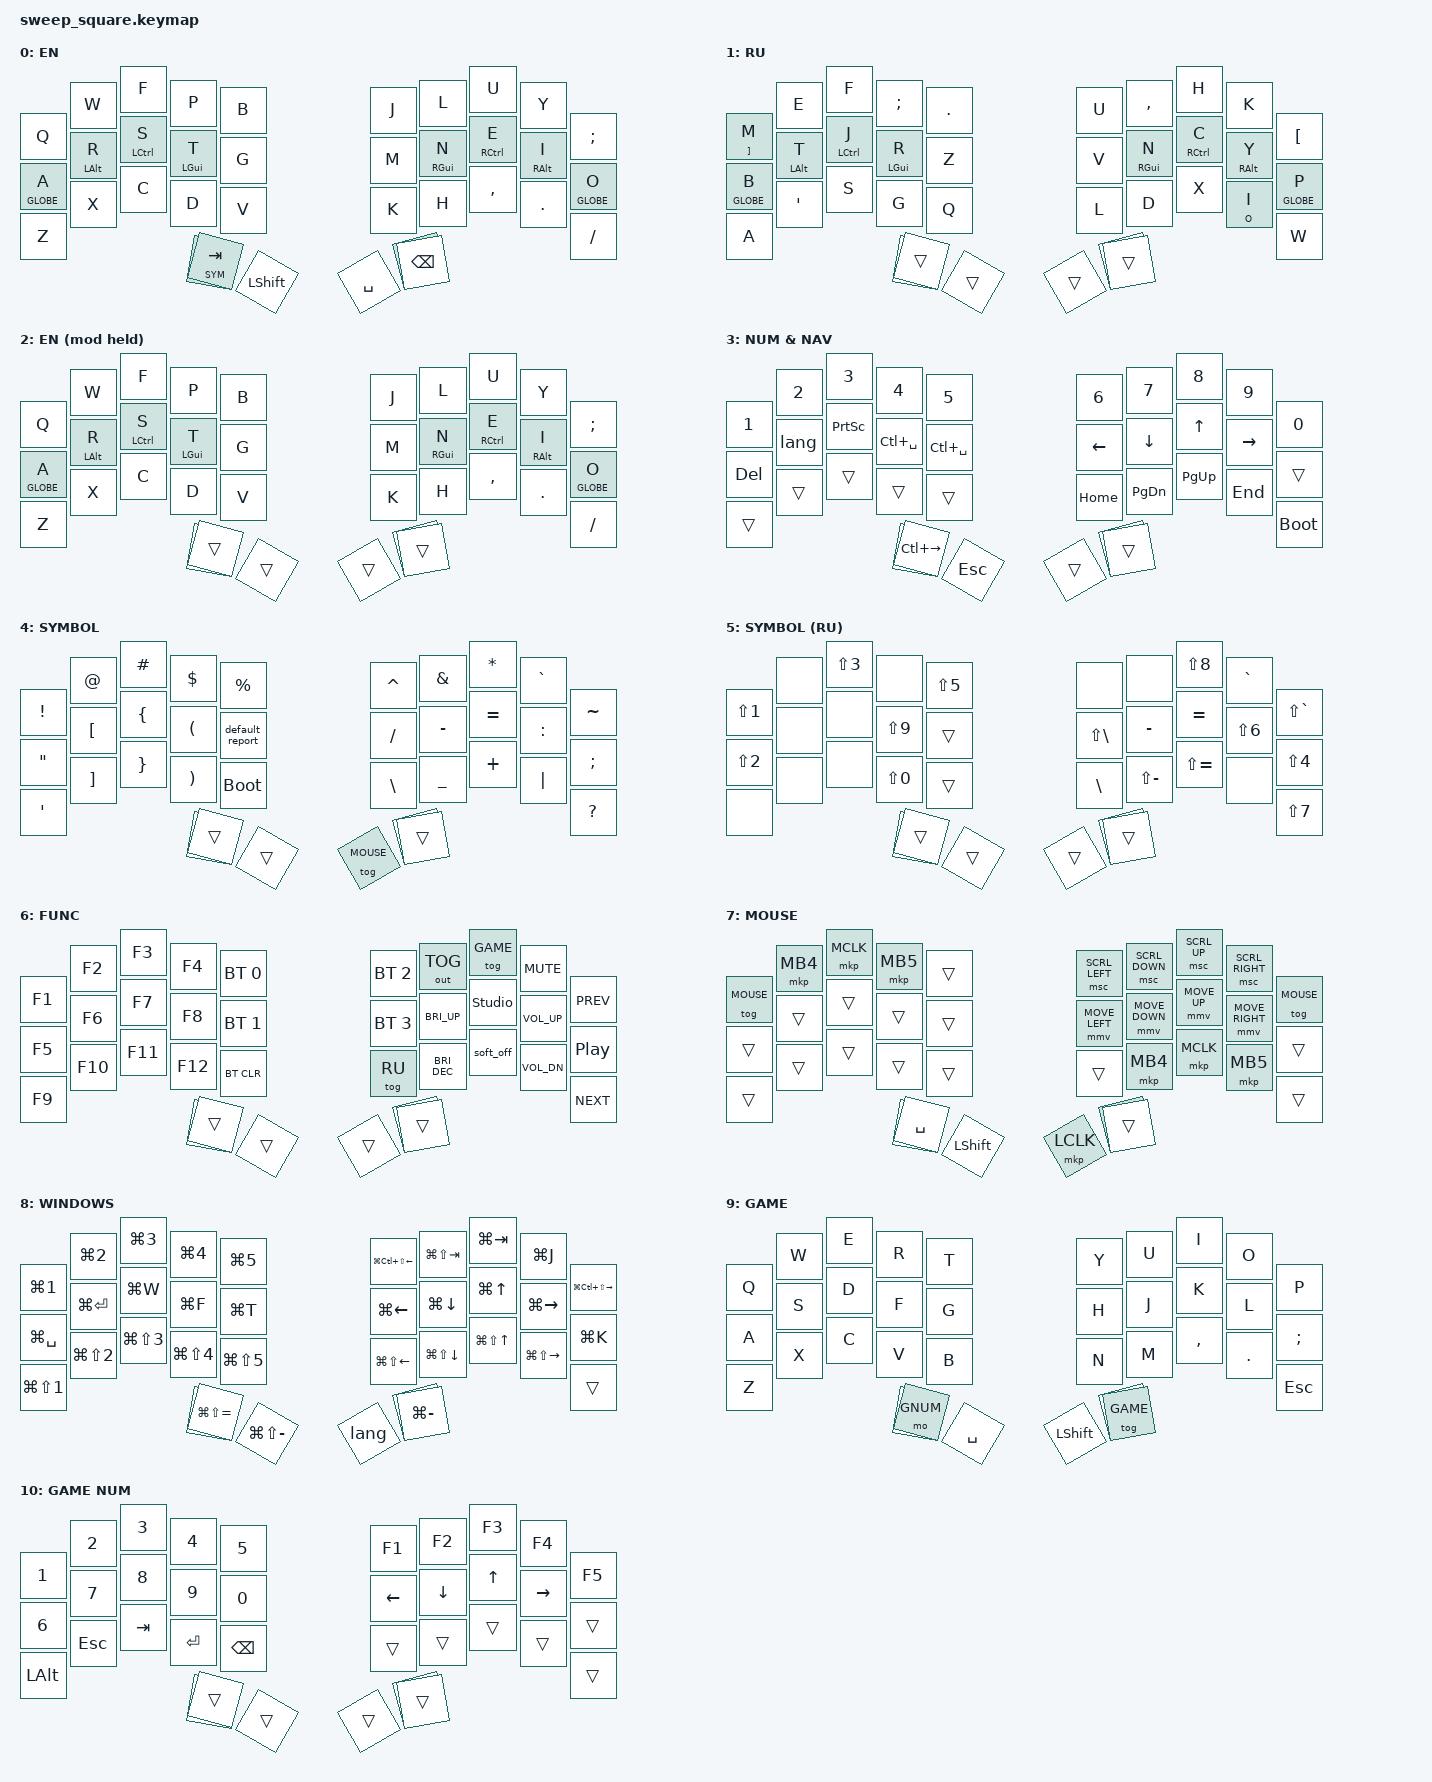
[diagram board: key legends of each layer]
// Copyright (c) 2022 The ZMK Contributors
// SPDX-License-Identifier: MIT

#define ZMK_POINTING_DEFAULT_MOVE_VAL 2500  // 600
#define ZMK_POINTING_DEFAULT_SCRL_VAL 20    // 10

#include <behaviors.dtsi>
#include <dt-bindings/zmk/bt.h>
#include <dt-bindings/zmk/keys.h>
#include <dt-bindings/zmk/outputs.h>
#include <dt-bindings/zmk/pointing.h>

// https://zmk.dev/docs/development/hardware-integration/soft-off-setup?advanced-methods=wakeup&kscan-type=dkscan

/ {
    keys {
        compatible = "gpio-keys";

        soft_off_gpio_key: soft_off_gpio_key { gpios = <&gpio1 6 (GPIO_ACTIVE_LOW | GPIO_PULL_UP)>; };
    };

    wakeup_scan: wakeup_scan {
        compatible = "zmk,kscan-gpio-direct";
        input-keys = <&soft_off_gpio_key>;
        wakeup-source;
    };

    side_band_behavior_triggers: side_band_behavior_triggers {
        compatible = "zmk,kscan-sideband-behaviors";
        kscan = <&wakeup_scan>;
        auto-enable;
        wakeup-source;
    };

    soft_off_wakers {
        compatible = "zmk,soft-off-wakeup-sources";
        wakeup-sources = <&wakeup_scan>;
    };
};

// Layers (higher index wins when several are active)
#define EN     0   // Colemak-DH
#define RU     1   // Statica 3x5 (sends ЙЦУКЕН keycodes: OS layout = standard Russian "PC")
#define ENMOD  2   // EN letters while a modifier is held in RU (Ctrl+C stays Ctrl+C)
#define NUM    3
#define SYM    4
#define RUSYM  5   // SYM while RU is on: punctuation that exists in the Russian layout
#define FUNC   6
#define MOUSE  7
#define WM     8
#define GAME   9
#define GNUM   10

/ {
    chosen { zmk,charmap = &charmap_us; };

    behaviors {
        ht: hold_tap {
            label = "hold_tap";
            compatible = "zmk,behavior-hold-tap";
            #binding-cells = <2>;
            flavor = "tap-preferred";
            tapping-term-ms = <220>;
            quick-tap-ms = <150>;
            global-quick-tap;
            bindings = <&kp>, <&kp>;
        };

        // RU home-row mods: hold = modifier + ENMOD layer (shortcuts use English letters)
        hr: hold_tap_ru {
            compatible = "zmk,behavior-hold-tap";
            #binding-cells = <2>;
            flavor = "tap-preferred";
            tapping-term-ms = <220>;
            quick-tap-ms = <150>;
            global-quick-tap;
            bindings = <&modl>, <&kp>;
        };

        // tap = letter, hold = its rare twin (ь/ъ, ш/щ)
        lh: hold_letter {
            compatible = "zmk,behavior-hold-tap";
            #binding-cells = <2>;
            flavor = "tap-preferred";
            tapping-term-ms = <250>;
            bindings = <&kp>, <&kp>;
        };

        mmv {
            acceleration-exponent = <1>;      // 1
            time-to-max-speed-ms = <300>;    // 40
            delay-ms = <0>;                   // 0
        };

        msc {
            acceleration-exponent = <0>;      // 0
            time-to-max-speed-ms = <40>;      // 500
            delay-ms = <0>;                   // 10
        };
    };

    macros {
        modl: mod_with_en_letters {
            compatible = "zmk,behavior-macro-one-param";
            #binding-cells = <1>;
            wait-ms = <0>;
            tap-ms = <0>;
            bindings = <&macro_param_1to1>, <&macro_press &kp MACRO_PLACEHOLDER &mo ENMOD>,
                       <&macro_pause_for_release>,
                       <&macro_param_1to1>, <&macro_release &kp MACRO_PLACEHOLDER &mo ENMOD>;
        };

        // language: switch the OS layout (Caps Lock) and the keyboard layout together
        lang: language_switch {
            compatible = "zmk,behavior-macro";
            #binding-cells = <0>;
            wait-ms = <10>;
            tap-ms = <10>;
            bindings = <&macro_tap &kp CAPS &tog RU>;
        };
    };

    combos {
        compatible = "zmk,combos";
        // RU: comma / period = press the two keys above each other (С+Ч, Н+Ш), same spot as , . in EN
        ru_comma  { timeout-ms = <35>; key-positions = <17 27>; layers = <RU>; bindings = <&kp LS(FSLH)>; };
        ru_period { timeout-ms = <35>; key-positions = <18 28>; layers = <RU>; bindings = <&kp FSLH>; };
    };

    conditional_layers {
        compatible = "zmk,conditional-layers";
        tri_layer { if-layers = <NUM SYM>; then-layer = <FUNC>; };
        ru_sym    { if-layers = <RU SYM>;  then-layer = <RUSYM>; };
    };

    keymap {
        compatible = "zmk,keymap";

        default_layer1 {
            display-name = "EN";
            // Colemak-DH, home-row mods: Globe/Alt/Ctrl/Super  ·  Super/Ctrl/Alt/Globe
            bindings = <
  &kp Q        &kp W       &kp F        &kp P       &kp B         &kp J      &kp L        &kp U        &kp Y       &kp SEMI
  &ht GLOBE A  &ht LALT R  &ht LCTRL S  &ht LGUI T  &kp G         &kp M      &ht RGUI N   &ht RCTRL E  &ht RALT I  &ht GLOBE O
  &kp Z        &kp X       &kp C        &kp D       &kp V         &kp K      &kp H        &kp COMMA    &kp DOT     &kp FSLH
                           &lt WM ESC   &lt SYM TAB &kp LSHIFT    &kp SPACE  &lt NUM ENTER &kp BSPC
            >;
        };

        ru_layer {
            display-name = "RU";
            // Statica 3x5. Each key sends the ЙЦУКЕН keycode of its letter. Hold Ь = Ъ, hold Ш = Щ
            //  ь у а ж ю   г б р л х
            //  и е о к я   м т с н з
            //  ф э ы п й   д в ч ш ц
            bindings = <
  &lh RBKT M   &kp E       &kp F        &kp SEMI    &kp DOT       &kp U      &kp COMMA    &kp H        &kp K       &kp LBKT
  &hr GLOBE B  &hr LALT T  &hr LCTRL J  &hr LGUI R  &kp Z         &kp V      &hr RGUI N   &hr RCTRL C  &hr RALT Y  &hr GLOBE P
  &kp A        &kp SQT     &kp S        &kp G       &kp Q         &kp L      &kp D        &kp X        &lh O I     &kp W
                           &trans       &trans      &trans        &trans     &trans       &trans
            >;
        };

        en_mod_layer {
            display-name = "EN (mod held)";
            // active only while a modifier is held from the RU layer
            bindings = <
  &kp Q        &kp W       &kp F        &kp P       &kp B         &kp J      &kp L        &kp U        &kp Y       &kp SEMI
  &ht GLOBE A  &ht LALT R  &ht LCTRL S  &ht LGUI T  &kp G         &kp M      &ht RGUI N   &ht RCTRL E  &ht RALT I  &ht GLOBE O
  &kp Z        &kp X       &kp C        &kp D       &kp V         &kp K      &kp H        &kp COMMA    &kp DOT     &kp FSLH
                           &trans       &trans      &trans        &trans     &trans       &trans
            >;
        };

        right_layer {
            display-name = "NUM & NAV";
            bindings = <
  &kp N1   &kp N2    &kp N3        &kp N4         &kp N5           &kp N6    &kp N7     &kp N8     &kp N9     &kp N0
  &kp DEL  &lang     &kp PSCRN     &kp LC(SPACE)  &kp LC(SPACE)    &kp LEFT  &kp DOWN   &kp UP     &kp RIGHT  &trans
  &trans   &trans    &trans        &trans         &trans           &kp HOME  &kp PG_DN  &kp PG_UP  &kp END    &bootloader
                     &kp LC(LEFT)  &kp LC(RIGHT)  &kp ESC          &trans    &trans     &trans
            >;
        };

        left_layer {
            display-name = "SYMBOL";
            bindings = <
  &kp EXCL  &kp AT    &kp HASH  &kp DLLR  &kp PRCNT          &kp CARET  &kp AMPS   &kp ASTRK  &kp GRAVE  &kp TILDE
  &kp DQT   &kp LBKT  &kp LBRC  &kp LPAR  &default_report    &kp FSLH   &kp MINUS  &kp EQUAL  &kp COLON  &kp SEMI
  &kp SQT   &kp RBKT  &kp RBRC  &kp RPAR  &bootloader        &kp BSLH   &kp UNDER  &kp PLUS   &kp PIPE   &kp QMARK
                      &trans    &trans    &trans             &tog MOUSE &trans     &trans
            >;
        };

        ru_sym_layer {
            display-name = "SYMBOL (RU)";
            // same places as SYMBOL, but keycodes of the Russian layout. Missing there: @ $ ^ & [ ] { } ' | ~
            bindings = <
  &kp LS(N1)  &none       &kp LS(N3)  &none       &kp LS(N5)     &none         &none        &kp LS(N8)     &kp GRAVE   &kp LS(GRAVE)
  &kp LS(N2)  &none       &none       &kp LS(N9)  &trans         &kp LS(BSLH)  &kp MINUS    &kp EQUAL      &kp LS(N6)  &kp LS(N4)
  &none       &none       &none       &kp LS(N0)  &trans         &kp BSLH      &kp LS(MINUS) &kp LS(EQUAL) &none       &kp LS(N7)
                          &trans      &trans      &trans         &trans        &trans       &trans
            >;
        };

        tri_layer {
            display-name = "FUNC";
            bindings = <
  &kp F1  &kp F2   &kp F3   &kp F4   &bt BT_SEL 0    &bt BT_SEL 2  &out OUT_TOG   &tog GAME       &kp C_MUTE    &kp C_PREV
  &kp F5  &kp F6   &kp F7   &kp F8   &bt BT_SEL 1    &bt BT_SEL 3  &kp C_BRI_UP   &studio_unlock  &kp C_VOL_UP  &kp C_PP
  &kp F9  &kp F10  &kp F11  &kp F12  &bt BT_CLR      &tog RU       &kp C_BRI_DEC  &soft_off       &kp C_VOL_DN  &kp C_NEXT
                   &trans   &trans   &trans          &trans        &trans         &trans
            >;
        };

        mouse {
            display-name = "MOUSE";
            bindings = <
  &tog MOUSE  &mkp MB4  &mkp MCLK  &mkp MB5   &trans        &msc SCRL_LEFT  &msc SCRL_DOWN  &msc SCRL_UP  &msc SCRL_RIGHT  &tog MOUSE
  &trans      &trans    &trans     &trans     &trans        &mmv MOVE_LEFT  &mmv MOVE_DOWN  &mmv MOVE_UP  &mmv MOVE_RIGHT  &trans
  &trans      &trans    &trans     &trans     &trans        &trans          &mkp MB4        &mkp MCLK     &mkp MB5         &trans
                        &trans     &kp SPACE  &kp LSHIFT    &mkp LCLK       &mkp RCLK       &trans
            >;
        };

        windows_layer {
            display-name = "WINDOWS";
            // hold the outer left thumb (Esc). Sends Omarchy/Hyprland Super shortcuts (layout-independent)
            // thumbs: taller / shorter (left), language, wider / narrower (right)
            bindings = <
  &kp LG(N1)      &kp LG(N2)      &kp LG(N3)      &kp LG(N4)      &kp LG(N5)          &kp LG(LC(LS(LEFT)))  &kp LG(LS(TAB))   &kp LG(TAB)     &kp LG(J)        &kp LG(LC(LS(RIGHT)))
  &kp LG(SPACE)   &kp LG(RET)     &kp LG(W)       &kp LG(F)       &kp LG(T)           &kp LG(LEFT)          &kp LG(DOWN)      &kp LG(UP)      &kp LG(RIGHT)    &kp LG(K)
  &kp LG(LS(N1))  &kp LG(LS(N2))  &kp LG(LS(N3))  &kp LG(LS(N4))  &kp LG(LS(N5))      &kp LG(LS(LEFT))      &kp LG(LS(DOWN))  &kp LG(LS(UP))  &kp LG(LS(RIGHT))  &trans
                                  &trans          &kp LG(LS(EQUAL)) &kp LG(LS(MINUS)) &lang               &kp LG(EQUAL)     &kp LG(MINUS)
            >;
        };

        game_layer {
            display-name = "GAME";
            // on: FUNC + the key under right middle finger, top row. off: right outer thumb. Plain QWERTY, no mods
            bindings = <
  &kp Q      &kp W  &kp E      &kp R      &kp T          &kp Y      &kp U  &kp I      &kp O    &kp P
  &kp A      &kp S  &kp D      &kp F      &kp G          &kp H      &kp J  &kp K      &kp L    &kp SEMI
  &kp Z      &kp X  &kp C      &kp V      &kp B          &kp N      &kp M  &kp COMMA  &kp DOT  &kp ESC
                    &kp LCTRL  &mo GNUM   &kp SPACE      &kp LSHIFT &kp TAB  &tog GAME
            >;
        };

        game_num_layer {
            display-name = "GAME NUM";
            // hold left middle thumb in GAME: numbers / items under the left hand
            bindings = <
  &kp N1     &kp N2  &kp N3   &kp N4  &kp N5         &kp F1   &kp F2   &kp F3   &kp F4   &kp F5
  &kp N6     &kp N7  &kp N8   &kp N9  &kp N0         &kp LEFT &kp DOWN &kp UP   &kp RIGHT &trans
  &kp LALT   &kp ESC &kp TAB  &kp ENTER &kp BSPC     &trans   &trans   &trans   &trans   &trans
                     &trans   &trans  &trans         &trans   &trans   &trans
            >;
        };
    };
};
